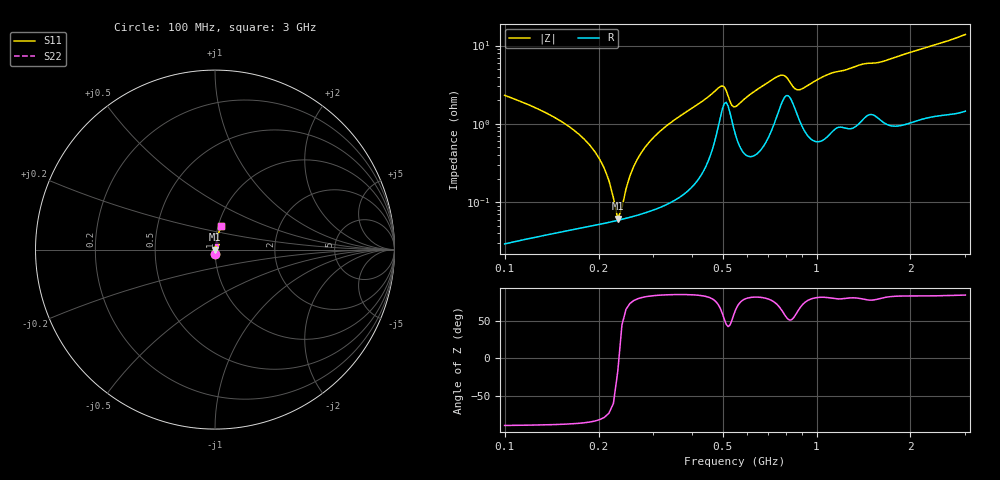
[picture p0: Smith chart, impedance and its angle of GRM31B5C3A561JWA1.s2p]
!Murata Part Number: GRM31B5C3A561JWA1
!These Parameters are Measured in Series Mode Connection
!Data Generated on Mar 30, 2021
!  o--ll--o
!Port1  Port2
!  o------o
!Operation Temp=25[degC], DC Bias Voltage=0[V]
!Freq. Start=100[MHz] Stop=3[GHz] 401[Steps]
# Hz S RI R 50
!Freq.(Hz) S11(Real) S11(Imag) S21(Real) S21(Imag) S12(Real) S12(Imag) S22(Real) S22(Imag)
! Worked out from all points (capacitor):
!   401 points, 100 MHz to 3 GHz, reference 50 ohm
!   read as one part in series: C = 560 pF near 114.5 MHz
!   lowest |Z| = 61.5 mohm at 230.5 MHz (marker M1)
!   series resonance near 232.3 MHz, so ESL is about 840 pH
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1e8  0.000827 -0.0231  0.9992 0.0231  0.9992 0.0231  0.000827 -0.0231
1.435e8  0.000548 -0.0123  0.9995 0.0123  0.9995 0.0123  0.000548 -0.0123
1.7975e8  0.000515 -0.00638  0.9995 0.00638  0.9995 0.00638  0.000515 -0.00638
2.015e8  0.000532 -0.00353  0.9995 0.00353  0.9995 0.00353  0.000532 -0.00353
2.2325e8  0.00057 -0.000983  0.9994 0.000983  0.9994 0.000983  0.00057 -0.000983
2.305e8  0.000586 -0.000188  0.9994 0.000188  0.9994 0.000188  0.000586 -0.000188
2.45e8  0.000623 0.00134  0.9994 -0.00134  0.9994 -0.00134  0.000623 0.00134
2.595e8  0.000668 0.0028  0.9993 -0.0028  0.9993 -0.0028  0.000668 0.0028
2.8125e8  0.00075 0.00489  0.9992 -0.00489  0.9992 -0.00489  0.00075 0.00489
3.465e8  0.00114 0.0108  0.9989 -0.0108  0.9989 -0.0108  0.00114 0.0108
4.915e8  0.0127 0.0268  0.9873 -0.0268  0.9873 -0.0268  0.0127 0.0268
5.06e8  0.0184 0.0225  0.9816 -0.0225  0.9816 -0.0225  0.0184 0.0225
5.4225e8  0.00899 0.0136  0.991 -0.0136  0.991 -0.0136  0.00899 0.0136
5.8575e8  0.00457 0.02  0.9954 -0.02  0.9954 -0.02  0.00457 0.02
7.5975e8  0.0165 0.0371  0.9835 -0.0371  0.9835 -0.0371  0.0165 0.0371
7.8875e8  0.0223 0.0335  0.9777 -0.0335  0.9777 -0.0335  0.0223 0.0335
8.7575e8  0.0122 0.0239  0.9878 -0.0239  0.9878 -0.0239  0.0122 0.0239
1.0715e9  0.0082 0.0405  0.9918 -0.0405  0.9918 -0.0405  0.0082 0.0405
1.55e9  0.0156 0.0571  0.9844 -0.0571  0.9844 -0.0571  0.0156 0.0571
2.03575e9  0.0171 0.0809  0.9829 -0.0809  0.9829 -0.0809  0.0171 0.0809
2.5215e9  0.0236 0.1037  0.9764 -0.1037  0.9764 -0.1037  0.0236 0.1037
3e9  0.0321 0.1313  0.9679 -0.1313  0.9679 -0.1313  0.0321 0.1313
